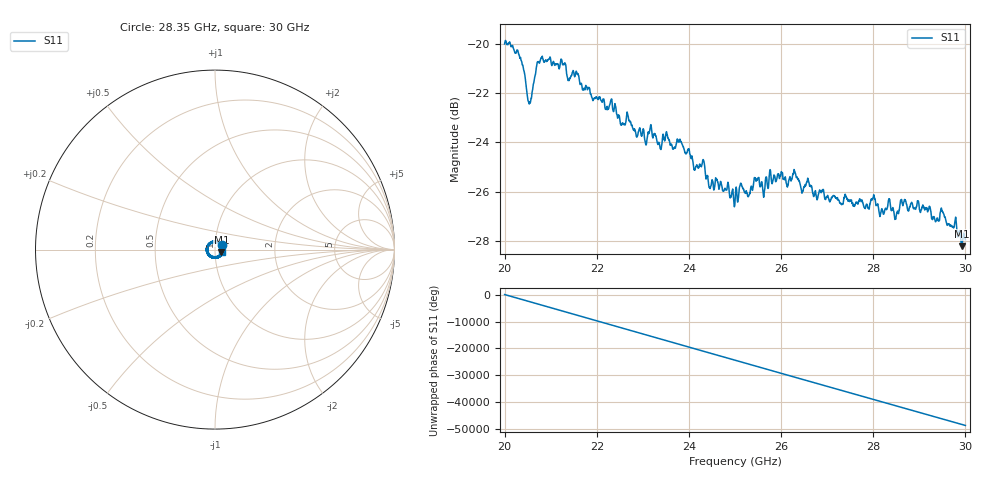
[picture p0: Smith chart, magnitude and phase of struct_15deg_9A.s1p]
#  HZ  S  RI  R  50.00
! Rohde & Schwarz ZVA40 4Ports - Version 3.90 - 1145.1110k42 SN: 100403
! Date: 2023-09-28 10:38:32
! Measurement: S12
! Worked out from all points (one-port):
!   5001 points, 20 GHz to 30 GHz, reference 50 ohm
!   lowest |S11| = -28.2 dB at 29.92 GHz (marker M1), VSWR 1.08, Z = 53.7 - j1.64 ohm
!   |S11| at or under -10 dB: start of sweep to end of sweep
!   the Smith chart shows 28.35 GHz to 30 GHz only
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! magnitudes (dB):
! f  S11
! 20 GHz  -20.0
! 20.32 GHz  -20.5
! 20.54 GHz  -22.4
! 20.77 GHz  -20.7
! 21.25 GHz  -20.8
! 21.39 GHz  -21.4
! 22.5 GHz  -23.1
! 23.07 GHz  -24.1
! 23.16 GHz  -23.4
! 23.36 GHz  -24.1
! 23.75 GHz  -23.9
! 24.15 GHz  -25.0
! 24.3 GHz  -24.7
! 24.45 GHz  -25.8
! 25 GHz  -26.4
! 25.47 GHz  -25.5
! 25.6 GHz  -25.9
! 26.25 GHz  -25.3
! 26.75 GHz  -26.0
! 27.5 GHz  -26.3
! 28 GHz  -26.2
! 28.5 GHz  -26.9
! 28.63 GHz  -26.5
! 28.75 GHz  -26.8
! 29.39 GHz  -27.1
! 29.5 GHz  -26.8
! 29.92 GHz  -28.2
! 30 GHz  -27.9
